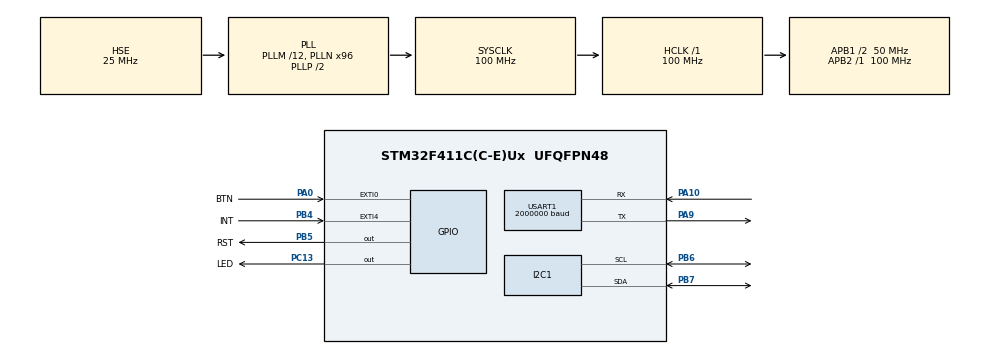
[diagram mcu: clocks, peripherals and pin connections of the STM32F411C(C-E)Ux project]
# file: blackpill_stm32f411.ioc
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ARM.CMSIS.5.6.0.CMSISJjDSP=Library
I2C1.I2C_Mode=I2C_Fast
Mcu.Family=STM32F4
Mcu.Name=STM32F411C(C-E)Ux
Mcu.Package=UFQFPN48
NVIC.EXTI0_IRQn=true\:0\:0\:false\:false\:true\:true\:true\:true
NVIC.PriorityGroup=NVIC_PRIORITYGROUP_4
PA0-WKUP.GPIO_Label=BTN
PA0-WKUP.GPIO_ModeDefaultEXTI=GPIO_MODE_IT_RISING_FALLING
PA0-WKUP.GPIO_PuPd=GPIO_PULLUP
PA0-WKUP.Signal=GPXTI0
PA10.Mode=Asynchronous
PA10.Signal=USART1_RX
PA13.Mode=Trace_Asynchronous_SW
PA13.Signal=SYS_JTMS-SWDIO
PA14.Mode=Trace_Asynchronous_SW
PA14.Signal=SYS_JTCK-SWCLK
PA9.Mode=Asynchronous
PA9.Signal=USART1_TX
PB3.Mode=Trace_Asynchronous_SW
PB3.Signal=SYS_JTDO-SWO
PB4.GPIO_Label=INT
PB4.Signal=GPXTI4
PB5.GPIO_Label=RST
PB5.PinState=GPIO_PIN_SET
PB5.Signal=GPIO_Output
PB6.GPIO_Pu=GPIO_PULLUP
PB6.Mode=I2C
PB6.Signal=I2C1_SCL
PB7.GPIO_Pu=GPIO_PULLUP
PB7.Mode=I2C
PB7.Signal=I2C1_SDA
PC13-ANTI_TAMP.GPIO_Label=LED
PC13-ANTI_TAMP.GPIO_ModeDefaultOutputPP=GPIO_MODE_OUTPUT_OD
PC13-ANTI_TAMP.GPIO_PuPd=GPIO_NOPULL
PC13-ANTI_TAMP.PinState=GPIO_PIN_SET
PC13-ANTI_TAMP.Signal=GPIO_Output
PH0\ -\ OSC_IN.Mode=HSE-External-Oscillator
PH0\ -\ OSC_IN.Signal=RCC_OSC_IN
PH1\ -\ OSC_OUT.Mode=HSE-External-Oscillator
PH1\ -\ OSC_OUT.Signal=RCC_OSC_OUT
ProjectManager.HeapSize=0x200
ProjectManager.StackSize=0x400
ProjectManager.TargetToolchain=STM32CubeIDE
RCC.48MHZClocksFreq_Value=50000000
RCC.AHBFreq_Value=100000000
RCC.APB1CLKDivider=RCC_HCLK_DIV2
RCC.APB1Freq_Value=50000000
RCC.APB1TimFreq_Value=100000000
RCC.APB2Freq_Value=100000000
RCC.APB2TimFreq_Value=100000000
RCC.CortexFreq_Value=100000000
RCC.HCLKFreq_Value=100000000
RCC.HSE_VALUE=25000000
RCC.HSI_VALUE=16000000
RCC.LSE_VALUE=32768
RCC.PLLM=12
RCC.PLLN=96
RCC.PLLSourceVirtual=RCC_PLLSOURCE_HSE
RCC.SYSCLKFreq_VALUE=100000000
RCC.SYSCLKSource=RCC_SYSCLKSOURCE_PLLCLK
RCC.VCOOutputFreq_Value=200000000
USART1.BaudRate=2000000
USART1.VirtualMode=VM_ASYNC
VP_ARM.CMSIS_VS_CMSISJjDSP_1.7.0_5.6.0.Mode=CMSISJjDSP
board=custom

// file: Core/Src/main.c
/* USER CODE BEGIN Header */
/**
 ******************************************************************************
 * @file           : main.c
 * @brief          : Main program body
 ******************************************************************************
 * @attention
 *
 * Copyright (c) 2025 Lars Boegild Thomsen <lbthomsen@gmail.com>
 * All rights reserved.
 *
 * This software is licensed under terms that can be found in the LICENSE file
 * in the root directory of this software component.
 * If no LICENSE file comes with this software, it is provided AS-IS.
 *
 ******************************************************************************
 */
/* USER CODE END Header */
#include "main.h"

/* USER CODE BEGIN Includes */
#include "aw9523.h"
#include "aw9523_led_demos.h"
/* USER CODE END Includes */

/* USER CODE BEGIN PD */
#define AW9523_ADDR 0x5b
/* USER CODE END PD */

I2C_HandleTypeDef hi2c1;

UART_HandleTypeDef huart1;

/* USER CODE BEGIN PV */

AW9523_HandleTypeDef aw9523_handle;

const uint8_t led_mapping[5][3] = {
        { AW9523_DIM4, AW9523_DIM5, AW9523_DIM6 },
        { AW9523_DIM7, AW9523_DIM8, AW9523_DIM9 },
        { AW9523_DIM10, AW9523_DIM11, AW9523_DIM0 },
        { AW9523_DIM1, AW9523_DIM2, AW9523_DIM3 },
        { AW9523_DIM12, AW9523_DIM13, AW9523_DIM14 }
};

uint32_t tim_cnt;
uint8_t update_leds;

/* USER CODE END PV */

void SystemClock_Config(void);
static void MX_GPIO_Init(void);
static void MX_I2C1_Init(void);
static void MX_USART1_UART_Init(void);

/* USER CODE BEGIN 0 */

// Send printf to uart1
int _write(int fd, char *ptr, int len) {
    HAL_StatusTypeDef hstatus;

    if (fd == 1 || fd == 2) {
        hstatus = HAL_UART_Transmit(&huart1, (uint8_t*) ptr, len, HAL_MAX_DELAY);
        if (hstatus == HAL_OK)
            return len;
        else
            return -1;
    }
    return -1;
}

void HAL_GPIO_EXTI_Callback(uint16_t GPIO_Pin) {
    if (GPIO_Pin == BTN_Pin) // If the button
    {
        if (HAL_GPIO_ReadPin(BTN_GPIO_Port, BTN_Pin) == GPIO_PIN_RESET) {
            DBG("Btn Press\n");
        } else {
            DBG("Btn Release\n");
        }
    }
}

/* USER CODE END 0 */

int main(void)
{

    /* MCU Configuration--------------------------------------------------------*/

    /* Reset of all peripherals, Initializes the Flash interface and the Systick. */
    HAL_Init();

    /* Configure the system clock */
    SystemClock_Config();

    /* Initialize all configured peripherals */
    MX_GPIO_Init();
    MX_I2C1_Init();
    MX_USART1_UART_Init();
    /* USER CODE BEGIN 2 */

    DBG("\n\n\n\n--------\nStarting\n");

    HAL_Delay(10);

    DBG("Scanning i2c bus\n");

    // Go through all possible i2c addresses
    for (uint8_t i = 0; i < 128; i++) {

        if (HAL_I2C_IsDeviceReady(&hi2c1, (uint16_t) (i << 1), 3, 5) == HAL_OK) {
            // We got an ack
            printf("%2x ", i);
        } else {
            printf("-- ");
        }

        if (i > 0 && (i + 1) % 16 == 0)
            printf("\n");

    }

    if (aw9523_init(&aw9523_handle, &hi2c1, AW9523_ADDR, RST_GPIO_Port, RST_Pin) != AW9523_Ok) {
        DBG("Failed\n");
        Error_Handler();
    }

    // Initialize aw9523 in LED drive mode
    aw9523_write_register(&aw9523_handle, AW9523_CTL, 0x03); // set to 0x00, 0x01, 0x02 or 0x03 to limit max current per pin.
    aw9523_write_register(&aw9523_handle, AW9523_LP0, 0x00);
    aw9523_write_register(&aw9523_handle, AW9523_LP1, 0x00);

    /* USER CODE END 2 */

    /* Infinite loop */
    /* USER CODE BEGIN WHILE */

    uint32_t now = 0, next_blink = 500, next_tick = 1000, loop_cnt = 0, next_demo_tick = 0;

    while (1) {

        now = uwTick;

        if (now >= next_blink) {
            HAL_GPIO_TogglePin(LED_GPIO_Port, LED_Pin);
            next_blink = now + 500;
        }

        if (now >= next_tick) {
            printf("Tick %lu (loop=%lu tim=%lu)\n", now / 1000, loop_cnt, tim_cnt);
            loop_cnt = 0;
            next_tick = now + 1000;
        }

        if (now >= next_demo_tick) {
            aw9523_led_demo_tick(&aw9523_handle);
            next_demo_tick = now + 10;
        }

        ++loop_cnt;

        /* USER CODE END WHILE */

    }
}

void SystemClock_Config(void)
{
    RCC_OscInitTypeDef RCC_OscInitStruct = { 0 };
    RCC_ClkInitTypeDef RCC_ClkInitStruct = { 0 };

    /** Configure the main internal regulator output voltage
     */
    __HAL_RCC_PWR_CLK_ENABLE();
    __HAL_PWR_VOLTAGESCALING_CONFIG(PWR_REGULATOR_VOLTAGE_SCALE1);

    /** Initializes the RCC Oscillators according to the specified parameters
     * in the RCC_OscInitTypeDef structure.
     */
    RCC_OscInitStruct.OscillatorType = RCC_OSCILLATORTYPE_HSE;
    RCC_OscInitStruct.HSEState = RCC_HSE_ON;
    RCC_OscInitStruct.PLL.PLLState = RCC_PLL_ON;
    RCC_OscInitStruct.PLL.PLLSource = RCC_PLLSOURCE_HSE;
    RCC_OscInitStruct.PLL.PLLM = 12;
    RCC_OscInitStruct.PLL.PLLN = 96;
    RCC_OscInitStruct.PLL.PLLP = RCC_PLLP_DIV2;
    RCC_OscInitStruct.PLL.PLLQ = 4;
    if (HAL_RCC_OscConfig(&RCC_OscInitStruct) != HAL_OK)
            {
        Error_Handler();
    }

    /** Initializes the CPU, AHB and APB buses clocks
     */
    RCC_ClkInitStruct.ClockType = RCC_CLOCKTYPE_HCLK | RCC_CLOCKTYPE_SYSCLK
            | RCC_CLOCKTYPE_PCLK1 | RCC_CLOCKTYPE_PCLK2;
    RCC_ClkInitStruct.SYSCLKSource = RCC_SYSCLKSOURCE_PLLCLK;
    RCC_ClkInitStruct.AHBCLKDivider = RCC_SYSCLK_DIV1;
    RCC_ClkInitStruct.APB1CLKDivider = RCC_HCLK_DIV2;
    RCC_ClkInitStruct.APB2CLKDivider = RCC_HCLK_DIV1;

    if (HAL_RCC_ClockConfig(&RCC_ClkInitStruct, FLASH_LATENCY_3) != HAL_OK)
            {
        Error_Handler();
    }
}

static void MX_I2C1_Init(void)
{

    hi2c1.Instance = I2C1;
    hi2c1.Init.ClockSpeed = 400000;
    hi2c1.Init.DutyCycle = I2C_DUTYCYCLE_2;
    hi2c1.Init.OwnAddress1 = 0;
    hi2c1.Init.AddressingMode = I2C_ADDRESSINGMODE_7BIT;
    hi2c1.Init.DualAddressMode = I2C_DUALADDRESS_DISABLE;
    hi2c1.Init.OwnAddress2 = 0;
    hi2c1.Init.GeneralCallMode = I2C_GENERALCALL_DISABLE;
    hi2c1.Init.NoStretchMode = I2C_NOSTRETCH_DISABLE;
    if (HAL_I2C_Init(&hi2c1) != HAL_OK)
            {
        Error_Handler();
    }

}

static void MX_USART1_UART_Init(void)
{

    huart1.Instance = USART1;
    huart1.Init.BaudRate = 2000000;
    huart1.Init.WordLength = UART_WORDLENGTH_8B;
    huart1.Init.StopBits = UART_STOPBITS_1;
    huart1.Init.Parity = UART_PARITY_NONE;
    huart1.Init.Mode = UART_MODE_TX_RX;
    huart1.Init.HwFlowCtl = UART_HWCONTROL_NONE;
    huart1.Init.OverSampling = UART_OVERSAMPLING_16;
    if (HAL_UART_Init(&huart1) != HAL_OK)
            {
        Error_Handler();
    }

}

static void MX_GPIO_Init(void)
{
    GPIO_InitTypeDef GPIO_InitStruct = { 0 };

    /* GPIO Ports Clock Enable */
    __HAL_RCC_GPIOC_CLK_ENABLE();
    __HAL_RCC_GPIOH_CLK_ENABLE();
    __HAL_RCC_GPIOA_CLK_ENABLE();
    __HAL_RCC_GPIOB_CLK_ENABLE();

    /*Configure GPIO pin Output Level */
    HAL_GPIO_WritePin(LED_GPIO_Port, LED_Pin, GPIO_PIN_SET);

    /*Configure GPIO pin Output Level */
    HAL_GPIO_WritePin(RST_GPIO_Port, RST_Pin, GPIO_PIN_SET);

    /*Configure GPIO pin : LED_Pin */
    GPIO_InitStruct.Pin = LED_Pin;
    GPIO_InitStruct.Mode = GPIO_MODE_OUTPUT_OD;
    GPIO_InitStruct.Pull = GPIO_NOPULL;
    GPIO_InitStruct.Speed = GPIO_SPEED_FREQ_LOW;
    HAL_GPIO_Init(LED_GPIO_Port, &GPIO_InitStruct);

    /*Configure GPIO pin : BTN_Pin */
    GPIO_InitStruct.Pin = BTN_Pin;
    GPIO_InitStruct.Mode = GPIO_MODE_IT_RISING_FALLING;
    GPIO_InitStruct.Pull = GPIO_PULLUP;
    HAL_GPIO_Init(BTN_GPIO_Port, &GPIO_InitStruct);

    /*Configure GPIO pin : INT_Pin */
    GPIO_InitStruct.Pin = INT_Pin;
    GPIO_InitStruct.Mode = GPIO_MODE_IT_RISING;
    GPIO_InitStruct.Pull = GPIO_NOPULL;
    HAL_GPIO_Init(INT_GPIO_Port, &GPIO_InitStruct);

    /*Configure GPIO pin : RST_Pin */
    GPIO_InitStruct.Pin = RST_Pin;
    GPIO_InitStruct.Mode = GPIO_MODE_OUTPUT_PP;
    GPIO_InitStruct.Pull = GPIO_NOPULL;
    GPIO_InitStruct.Speed = GPIO_SPEED_FREQ_LOW;
    HAL_GPIO_Init(RST_GPIO_Port, &GPIO_InitStruct);

    /* EXTI interrupt init*/
    HAL_NVIC_SetPriority(EXTI0_IRQn, 0, 0);
    HAL_NVIC_EnableIRQ(EXTI0_IRQn);

}

void Error_Handler(void)
{
    __disable_irq();
    while (1) {
    }
}
